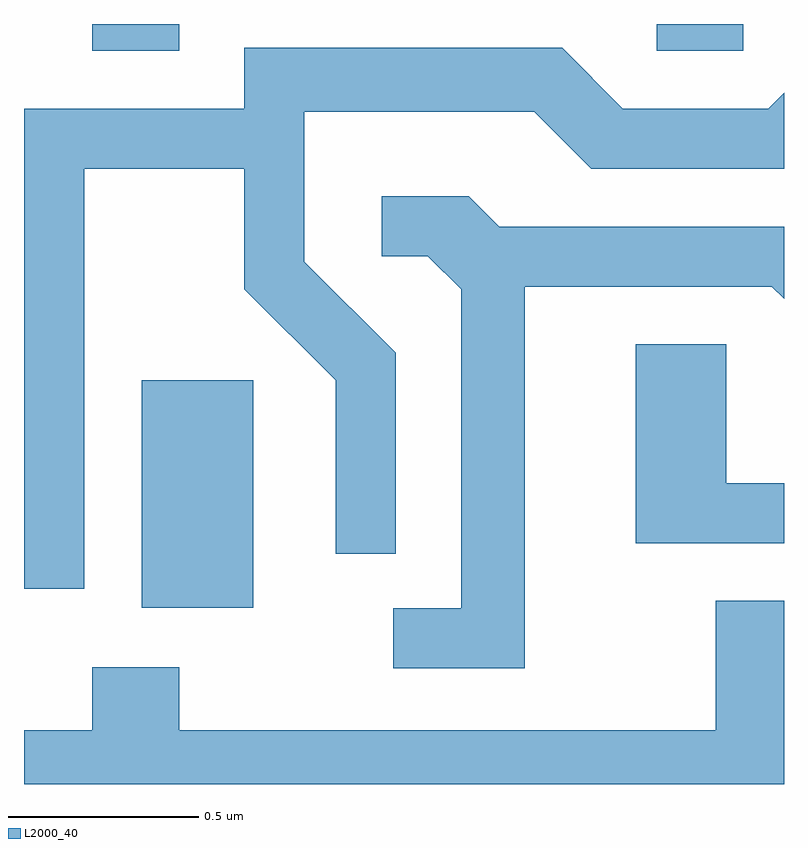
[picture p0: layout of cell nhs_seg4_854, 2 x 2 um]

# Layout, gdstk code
import gdstk
lib = gdstk.Library(unit=1e-6, precision=1e-09)
def R(c, l, rs):  # rectangles x0, y0, x1, y1
    for r in rs: c.add(gdstk.rectangle(r[:2], r[2:], *l))
def P(c, l, *ps):  # polygons
    for p in ps: c.add(gdstk.Polygon(p, *l))
L2000_40 = (2000, 40)

nhs_seg4_854 = lib.new_cell('nhs_seg4_854')
R(nhs_seg4_854, L2000_40, [(191.921,1286.446,192.214,1287.044), (191.791,1287.911,192.019,1287.982), (193.276,1287.911,193.504,1287.982)])
P(nhs_seg4_854, L2000_40, [(191.769,1287.601),(192.191,1287.601),(192.191,1287.284),(192.431,1287.044),(192.431,1286.588),(192.589,1286.588),(192.589,1287.117),(192.349,1287.357),(192.349,1287.751),(192.954,1287.751),(193.104,1287.601),(193.611,1287.601),(193.611,1287.801),(193.569,1287.759),(193.187,1287.759),(193.027,1287.919),(192.191,1287.919),(192.191,1287.759),(191.611,1287.759),(191.611,1286.496),(191.769,1286.496)],
  [(192.929,1287.291),(193.579,1287.291),(193.611,1287.259),(193.611,1287.449),(192.862,1287.449),(192.782,1287.529),(192.553,1287.529),(192.553,1287.371),(192.674,1287.371),(192.761,1287.284),(192.761,1286.444),(192.583,1286.444),(192.583,1286.286),(192.929,1286.286)],
  [(193.611,1286.774),(193.459,1286.774),(193.459,1287.139),(193.221,1287.139),(193.221,1286.616),(193.611,1286.616)],
  [(193.611,1286.464),(193.431,1286.464),(193.431,1286.124),(192.019,1286.124),(192.019,1286.289),(191.791,1286.289),(191.791,1286.124),(191.611,1286.124),(191.611,1285.982),(193.611,1285.982)])

lib.write_gds('nhs_seg4_854.gds')
